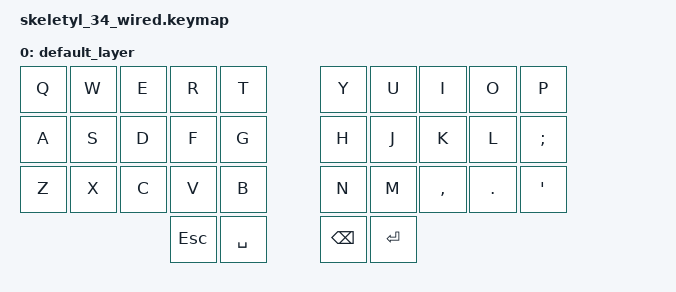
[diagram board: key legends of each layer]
/*
 * Copyright (c) 2024, Charly Delay <0@0xcharly.com>
 *
 * SPDX-License-Identifier: MIT
 */

#include <behaviors.dtsi>
#include <dt-bindings/zmk/keys.h>

/ {
	keymap {
		compatible = "zmk,keymap";

		default_layer {
			bindings = <
&kp Q     &kp W    &kp E     &kp R     &kp T                     &kp Y     &kp U    &kp I     &kp O     &kp P
&kp A     &kp S    &kp D     &kp F     &kp G                     &kp H     &kp J    &kp K     &kp L     &kp SEMI
&kp Z     &kp X    &kp C     &kp V     &kp B                     &kp N     &kp M    &kp COMMA &kp DOT   &kp QUOT
                   &kp ESC   &kp SPACE                                     &kp BKSP &kp ENTER
			>;
		};
	};
};
